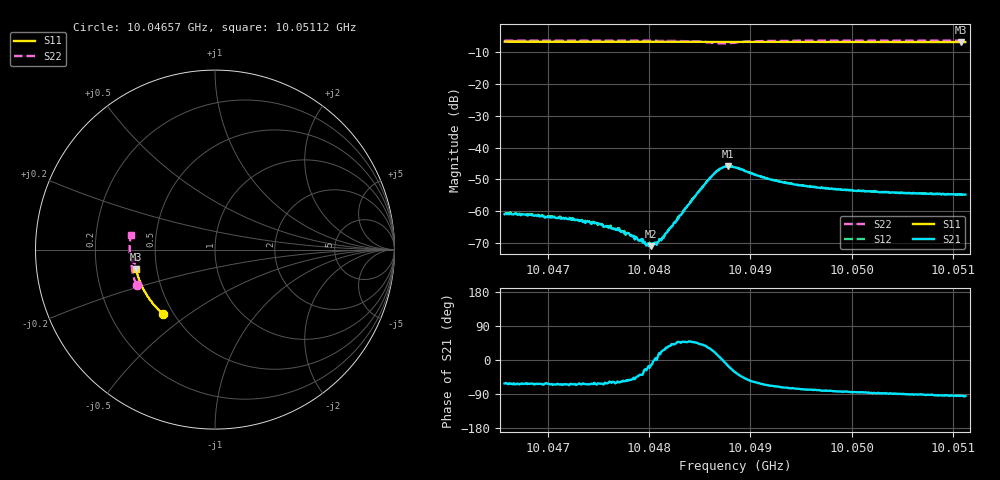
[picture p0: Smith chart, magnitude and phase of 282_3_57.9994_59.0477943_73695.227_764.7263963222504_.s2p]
#  HZ  S  RI  R  50.00
! Rohde & Schwarz Vector Network Analyzer
! Rohde-Schwarz,ZNB20-2Port,1311601062101988,3.16
! Created: UTC 3/21/2024, 1:02:56 AM
! freq[Hz]  re:S11  im:S11  re:S21  im:S21  re:S12  im:S12  re:S22  im:S22
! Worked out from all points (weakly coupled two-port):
!   401 points, 10.04657 GHz to 10.05112 GHz, reference 50 ohm
!   highest |S21| = -45.87 dB at 10.04878 GHz (marker M1); lowest = -71.0 dB at 10.04802 GHz (marker M2)
!   lowest |S11| = -6.9 dB at 10.05108 GHz (marker M3), VSWR 2.66, Z = 19.1 - j5.19 ohm
!   |S11| at or under -10 dB: nowhere
!   |S22| runs from -7.3 to -6.4 dB; largest |S21 - S12| = 0.00036
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1.004657e10  -0.2897 -0.3586  0.000425 -0.000793  0.000496 -0.000809  -0.436 -0.1999
1.0046832e10  -0.3026 -0.347  0.000412 -0.000783  0.00045 -0.000768  -0.4426 -0.1833
1.0047333e10  -0.3261 -0.3237  0.000315 -0.000647  0.000361 -0.00064  -0.4536 -0.1508
1.0047492e10  -0.3332 -0.3157  0.000313 -0.000574  0.00031 -0.000527  -0.4566 -0.1402
1.0047686e10  -0.3416 -0.3061  0.000291 -0.000442  0.000316 -0.000434  -0.4596 -0.1268
1.00478e10  -0.3464 -0.3003  0.000276 -0.000355  0.000307 -0.000325  -0.4614 -0.1186
1.0047971e10  -0.3533 -0.2914  0.000258 -0.000134  0.00031 -0.000129  -0.4632 -0.1056
1.0048016e10  -0.3552 -0.289  0.000276 -6.55e-05  0.000292 -2.23e-05  -0.4637 -0.1021
1.0048073e10  -0.3575 -0.2859  0.000297 1.24e-06  0.000306 3.34e-05  -0.4639 -0.0973
1.0048096e10  -0.3585 -0.2848  0.000346 0.00011  0.000324 9.15e-05  -0.464 -0.0956
1.0048141e10  -0.3602 -0.2825  0.000342 0.000171  0.000362 0.000186  -0.4641 -0.0918
1.0048403e10  -0.3703 -0.2682  0.00089 0.00102  0.000879 0.00109  -0.4604 -0.0675
1.004862e10  -0.3779 -0.2563  0.00322 0.00159  0.00315 0.00176  -0.4389 -0.0516
1.0048711e10  -0.3807 -0.2512  0.00473 0.000288  0.00472 0.000581  -0.427 -0.0604
1.0048779e10  -0.3832 -0.2478  0.0049 -0.00137  0.005 -0.00108  -0.4281 -0.0721
1.0048847e10  -0.3855 -0.2439  0.00414 -0.00259  0.00435 -0.00234  -0.4375 -0.0787
1.0049223e10  -0.3979 -0.2225  0.00113 -0.00287  0.0013 -0.00282  -0.469 -0.0522
1.004961e10  -0.4091 -0.1996  0.000496 -0.00238  0.000618 -0.00233  -0.4746 -0.0212
1.0050043e10  -0.4203 -0.1734  0.000185 -0.00207  0.000284 -0.0021  -0.4757 0.01
1.0050373e10  -0.4276 -0.153  2.47e-05 -0.00195  0.000162 -0.00199  -0.4747 0.0329
1.0051079e10  -0.4398 -0.1083  -0.000152 -0.00184  -5.38e-05 -0.00183  -0.4687 0.0799
1.0051125e10  -0.4405 -0.1054  -0.000166 -0.00182  -4.91e-05 -0.00181  -0.4682 0.083
